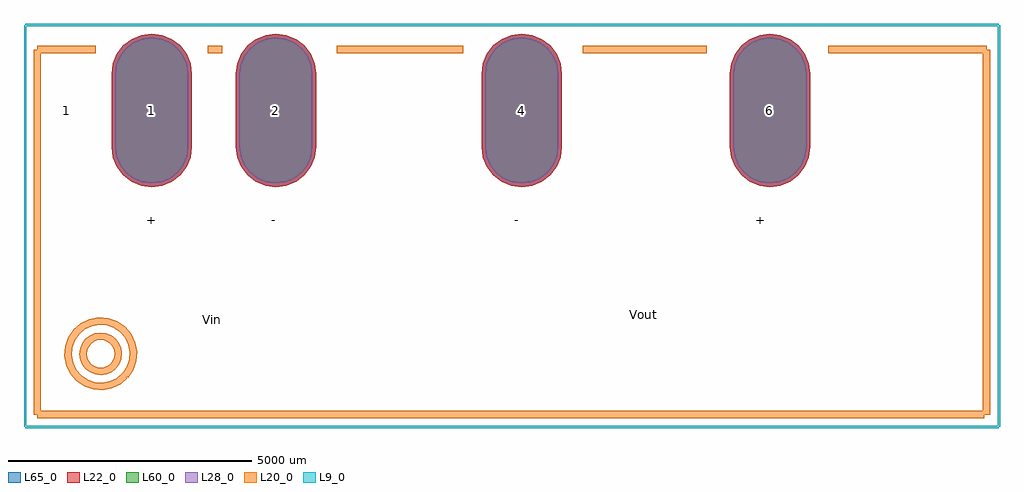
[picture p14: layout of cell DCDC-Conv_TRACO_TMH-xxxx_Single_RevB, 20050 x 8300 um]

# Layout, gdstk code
import gdstk
lib = gdstk.Library(unit=1e-6, precision=1e-09)
def P(c, l, *ps):  # polygons
    for p in ps: c.add(gdstk.Polygon(p, *l))
L9_0 = (9, 0)
L20_0 = (20, 0)
L22_0 = (22, 0)
L28_0 = (28, 0)
L60_0 = (60, 0)
L65_0 = (65, 0)

dcdc_conv_traco_tmh_xxxx = lib.new_cell('DCDC-Conv_TRACO_TMH-xxxx_Single_RevB')
P(dcdc_conv_traco_tmh_xxxx, L22_0, [(12700,-1574.87),(12913.673,-1546.739),(13112.785,-1464.265),(13283.766,-1333.066),(13414.965,-1162.085),(13497.439,-962.973),(13525.57,-749.3),(13525.57,749.3),(13497.439,962.973),(13414.965,1162.085),(13283.766,1333.066),(13112.785,1464.265),(12913.673,1546.739),(12700,1574.87),(12486.327,1546.739),(12287.215,1464.265),(12116.234,1333.066),(11985.035,1162.085),(11902.561,962.973),(11874.43,749.3),(11874.43,-749.3),(11902.561,-962.973),(11985.035,-1162.085),(12116.234,-1333.066),(12287.215,-1464.265),(12486.327,-1546.739)],
  [(7599.68,-1574.87),(7813.353,-1546.739),(8012.465,-1464.265),(8183.446,-1333.066),(8314.645,-1162.085),(8397.119,-962.973),(8425.25,-749.3),(8425.25,749.3),(8397.119,962.973),(8314.645,1162.085),(8183.446,1333.066),(8012.465,1464.265),(7813.353,1546.739),(7599.68,1574.87),(7386.007,1546.739),(7186.895,1464.265),(7015.914,1333.066),(6884.715,1162.085),(6802.241,962.973),(6774.11,749.3),(6774.11,-749.3),(6802.241,-962.973),(6884.715,-1162.085),(7015.914,-1333.066),(7186.895,-1464.265),(7386.007,-1546.739)],
  [(2550.16,-1574.87),(2763.833,-1546.739),(2962.945,-1464.265),(3133.926,-1333.066),(3265.125,-1162.085),(3347.599,-962.973),(3375.73,-749.3),(3375.73,749.3),(3347.599,962.973),(3265.125,1162.085),(3133.926,1333.066),(2962.945,1464.265),(2763.833,1546.739),(2550.16,1574.87),(2336.487,1546.739),(2137.375,1464.265),(1966.394,1333.066),(1835.195,1162.085),(1752.721,962.973),(1724.59,749.3),(1724.59,-749.3),(1752.721,-962.973),(1835.195,-1162.085),(1966.394,-1333.066),(2137.375,-1464.265),(2336.487,-1546.739)],
  [(0,-1574.87),(213.673,-1546.739),(412.785,-1464.265),(583.766,-1333.066),(714.965,-1162.085),(797.439,-962.973),(825.57,-749.3),(825.57,749.3),(797.439,962.973),(714.965,1162.085),(583.766,1333.066),(412.785,1464.265),(213.673,1546.739),(0,1574.87),(-213.673,1546.739),(-412.785,1464.265),(-583.766,1333.066),(-714.965,1162.085),(-797.439,962.973),(-825.57,749.3),(-825.57,-749.3),(-797.439,-962.973),(-714.965,-1162.085),(-583.766,-1333.066),(-412.785,-1464.265),(-213.673,-1546.739)])
P(dcdc_conv_traco_tmh_xxxx, L28_0, [(12700,-1499.87),(12894.262,-1474.295),(13075.285,-1399.313),(13230.733,-1280.033),(13350.013,-1124.585),(13424.995,-943.562),(13450.57,-749.3),(13450.57,749.3),(13424.995,943.562),(13350.013,1124.585),(13230.733,1280.033),(13075.285,1399.313),(12894.262,1474.295),(12700,1499.87),(12505.738,1474.295),(12324.715,1399.313),(12169.267,1280.033),(12049.987,1124.585),(11975.005,943.562),(11949.43,749.3),(11949.43,-749.3),(11975.005,-943.562),(12049.987,-1124.585),(12169.267,-1280.033),(12324.715,-1399.313),(12505.738,-1474.295)],
  [(7599.68,-1499.87),(7793.942,-1474.295),(7974.965,-1399.313),(8130.413,-1280.033),(8249.693,-1124.585),(8324.675,-943.562),(8350.25,-749.3),(8350.25,749.3),(8324.675,943.562),(8249.693,1124.585),(8130.413,1280.033),(7974.965,1399.313),(7793.942,1474.295),(7599.68,1499.87),(7405.418,1474.295),(7224.395,1399.313),(7068.947,1280.033),(6949.667,1124.585),(6874.685,943.562),(6849.11,749.3),(6849.11,-749.3),(6874.685,-943.562),(6949.667,-1124.585),(7068.947,-1280.033),(7224.395,-1399.313),(7405.418,-1474.295)],
  [(2550.16,-1499.87),(2744.422,-1474.295),(2925.445,-1399.313),(3080.893,-1280.033),(3200.173,-1124.585),(3275.155,-943.562),(3300.73,-749.3),(3300.73,749.3),(3275.155,943.562),(3200.173,1124.585),(3080.893,1280.033),(2925.445,1399.313),(2744.422,1474.295),(2550.16,1499.87),(2355.898,1474.295),(2174.875,1399.313),(2019.427,1280.033),(1900.147,1124.585),(1825.165,943.562),(1799.59,749.3),(1799.59,-749.3),(1825.165,-943.562),(1900.147,-1124.585),(2019.427,-1280.033),(2174.875,-1399.313),(2355.898,-1474.295)],
  [(0,-1499.87),(194.262,-1474.295),(375.285,-1399.313),(530.733,-1280.033),(650.013,-1124.585),(724.995,-943.562),(750.57,-749.3),(750.57,749.3),(724.995,943.562),(650.013,1124.585),(530.733,1280.033),(375.285,1399.313),(194.262,1474.295),(0,1499.87),(-194.262,1474.295),(-375.285,1399.313),(-530.733,1280.033),(-650.013,1124.585),(-724.995,943.562),(-750.57,749.3),(-750.57,-749.3),(-724.995,-943.562),(-650.013,-1124.585),(-530.733,-1280.033),(-375.285,-1399.313),(-194.262,-1474.295)])
P(dcdc_conv_traco_tmh_xxxx, L60_0, [(12700,-1499.87),(12894.262,-1474.295),(13075.285,-1399.313),(13230.733,-1280.033),(13350.013,-1124.585),(13424.995,-943.562),(13450.57,-749.3),(13450.57,749.3),(13424.995,943.562),(13350.013,1124.585),(13230.733,1280.033),(13075.285,1399.313),(12894.262,1474.295),(12700,1499.87),(12505.738,1474.295),(12324.715,1399.313),(12169.267,1280.033),(12049.987,1124.585),(11975.005,943.562),(11949.43,749.3),(11949.43,-749.3),(11975.005,-943.562),(12049.987,-1124.585),(12169.267,-1280.033),(12324.715,-1399.313),(12505.738,-1474.295)],
  [(7599.68,-1499.87),(7793.942,-1474.295),(7974.965,-1399.313),(8130.413,-1280.033),(8249.693,-1124.585),(8324.675,-943.562),(8350.25,-749.3),(8350.25,749.3),(8324.675,943.562),(8249.693,1124.585),(8130.413,1280.033),(7974.965,1399.313),(7793.942,1474.295),(7599.68,1499.87),(7405.418,1474.295),(7224.395,1399.313),(7068.947,1280.033),(6949.667,1124.585),(6874.685,943.562),(6849.11,749.3),(6849.11,-749.3),(6874.685,-943.562),(6949.667,-1124.585),(7068.947,-1280.033),(7224.395,-1399.313),(7405.418,-1474.295)],
  [(2550.16,-1499.87),(2744.422,-1474.295),(2925.445,-1399.313),(3080.893,-1280.033),(3200.173,-1124.585),(3275.155,-943.562),(3300.73,-749.3),(3300.73,749.3),(3275.155,943.562),(3200.173,1124.585),(3080.893,1280.033),(2925.445,1399.313),(2744.422,1474.295),(2550.16,1499.87),(2355.898,1474.295),(2174.875,1399.313),(2019.427,1280.033),(1900.147,1124.585),(1825.165,943.562),(1799.59,749.3),(1799.59,-749.3),(1825.165,-943.562),(1900.147,-1124.585),(2019.427,-1280.033),(2174.875,-1399.313),(2355.898,-1474.295)],
  [(0,-1499.87),(194.262,-1474.295),(375.285,-1399.313),(530.733,-1280.033),(650.013,-1124.585),(724.995,-943.562),(750.57,-749.3),(750.57,749.3),(724.995,943.562),(650.013,1124.585),(530.733,1280.033),(375.285,1399.313),(194.262,1474.295),(0,1499.87),(-194.262,1474.295),(-375.285,1399.313),(-530.733,1280.033),(-650.013,1124.585),(-724.995,943.562),(-750.57,749.3),(-750.57,-749.3),(-724.995,-943.562),(-650.013,-1124.585),(-530.733,-1280.033),(-375.285,-1399.313),(-194.262,-1474.295)])
P(dcdc_conv_traco_tmh_xxxx, L65_0, [(12700,-1574.87),(12913.673,-1546.739),(13112.785,-1464.265),(13283.766,-1333.066),(13414.965,-1162.085),(13497.439,-962.973),(13525.57,-749.3),(13525.57,749.3),(13497.439,962.973),(13414.965,1162.085),(13283.766,1333.066),(13112.785,1464.265),(12913.673,1546.739),(12700,1574.87),(12486.327,1546.739),(12287.215,1464.265),(12116.234,1333.066),(11985.035,1162.085),(11902.561,962.973),(11874.43,749.3),(11874.43,-749.3),(11902.561,-962.973),(11985.035,-1162.085),(12116.234,-1333.066),(12287.215,-1464.265),(12486.327,-1546.739)],
  [(7599.68,-1574.87),(7813.353,-1546.739),(8012.465,-1464.265),(8183.446,-1333.066),(8314.645,-1162.085),(8397.119,-962.973),(8425.25,-749.3),(8425.25,749.3),(8397.119,962.973),(8314.645,1162.085),(8183.446,1333.066),(8012.465,1464.265),(7813.353,1546.739),(7599.68,1574.87),(7386.007,1546.739),(7186.895,1464.265),(7015.914,1333.066),(6884.715,1162.085),(6802.241,962.973),(6774.11,749.3),(6774.11,-749.3),(6802.241,-962.973),(6884.715,-1162.085),(7015.914,-1333.066),(7186.895,-1464.265),(7386.007,-1546.739)],
  [(2550.16,-1574.87),(2763.833,-1546.739),(2962.945,-1464.265),(3133.926,-1333.066),(3265.125,-1162.085),(3347.599,-962.973),(3375.73,-749.3),(3375.73,749.3),(3347.599,962.973),(3265.125,1162.085),(3133.926,1333.066),(2962.945,1464.265),(2763.833,1546.739),(2550.16,1574.87),(2336.487,1546.739),(2137.375,1464.265),(1966.394,1333.066),(1835.195,1162.085),(1752.721,962.973),(1724.59,749.3),(1724.59,-749.3),(1752.721,-962.973),(1835.195,-1162.085),(1966.394,-1333.066),(2137.375,-1464.265),(2336.487,-1546.739)],
  [(0,-1574.87),(213.673,-1546.739),(412.785,-1464.265),(583.766,-1333.066),(714.965,-1162.085),(797.439,-962.973),(825.57,-749.3),(825.57,749.3),(797.439,962.973),(714.965,1162.085),(583.766,1333.066),(412.785,1464.265),(213.673,1546.739),(0,1574.87),(-213.673,1546.739),(-412.785,1464.265),(-583.766,1333.066),(-714.965,1162.085),(-797.439,962.973),(-825.57,749.3),(-825.57,-749.3),(-797.439,-962.973),(-714.965,-1162.085),(-583.766,-1333.066),(-412.785,-1464.265),(-213.673,-1546.739)])
dcdc_conv_traco_tmh_xxxx.add(gdstk.FlexPath([(-2352.04,1249.68),(-2352.04,-6248.4)], 149.998, ends="flush", simple_path=True, layer=20, datatype=0))  # L20_0
dcdc_conv_traco_tmh_xxxx.add(gdstk.FlexPath([(17150.1,-6248.4),(17150.1,1249.68)], 149.998, ends="flush", simple_path=True, layer=20, datatype=0))  # L20_0
dcdc_conv_traco_tmh_xxxx.add(gdstk.FlexPath([(-2352.04,-6248.4),(17099.3,-6248.4)], 149.998, ends="flush", simple_path=True, layer=20, datatype=0))  # L20_0
dcdc_conv_traco_tmh_xxxx.add(gdstk.FlexPath([(17150.1,1249.68),(13898.9,1249.68)], 149.998, ends="flush", simple_path=True, layer=20, datatype=0))  # L20_0
dcdc_conv_traco_tmh_xxxx.add(gdstk.FlexPath([(11399.5,1249.68),(8849.36,1249.68)], 149.998, ends="flush", simple_path=True, layer=20, datatype=0))  # L20_0
dcdc_conv_traco_tmh_xxxx.add(gdstk.FlexPath([(6398.26,1249.68),(3799.84,1249.68)], 149.998, ends="flush", simple_path=True, layer=20, datatype=0))  # L20_0
dcdc_conv_traco_tmh_xxxx.add(gdstk.FlexPath([(1447.8,1249.68),(1148.08,1249.68)], 149.998, ends="flush", simple_path=True, layer=20, datatype=0))  # L20_0
dcdc_conv_traco_tmh_xxxx.add(gdstk.FlexPath([(-1150.62,1249.68),(-2352.04,1249.68)], 149.998, ends="flush", simple_path=True, layer=20, datatype=0))  # L20_0
dcdc_conv_traco_tmh_xxxx.add(gdstk.FlexPath([(-2600,-6500),(17400,-6500)], 50, ends="flush", simple_path=True, layer=9, datatype=0))  # L9_0
dcdc_conv_traco_tmh_xxxx.add(gdstk.FlexPath([(-2600,1750),(17400,1750)], 50, ends="flush", simple_path=True, layer=9, datatype=0))  # L9_0
dcdc_conv_traco_tmh_xxxx.add(gdstk.FlexPath([(17400,1750),(17400,-6500)], 50, ends="flush", simple_path=True, layer=9, datatype=0))  # L9_0
dcdc_conv_traco_tmh_xxxx.add(gdstk.FlexPath([(-2600,1750),(-2600,-6500)], 50, ends="flush", simple_path=True, layer=9, datatype=0))  # L9_0
dcdc_conv_traco_tmh_xxxx.add(gdstk.FlexPath([(-549.26,-5450.4),(-449.95,-5305.573),(-391.508,-5139.978),(-377.917,-4964.899),(-410.102,-4792.268),(-485.871,-4633.85),(-600.06,-4500.44),(-744.887,-4401.13),(-910.482,-4342.688),(-1085.561,-4329.097),(-1258.192,-4361.282),(-1416.61,-4437.051),(-1550.02,-4551.24),(-1649.33,-4696.067),(-1707.772,-4861.662),(-1721.363,-5036.741),(-1689.178,-5209.372),(-1613.409,-5367.79),(-1499.22,-5501.2),(-1354.393,-5600.51),(-1188.798,-5658.952),(-1013.719,-5672.543),(-841.088,-5640.358),(-682.67,-5564.589),(-549.26,-5450.4)], 149.998, ends="flush", simple_path=True, layer=20, datatype=0))  # L20_0
dcdc_conv_traco_tmh_xxxx.add(gdstk.FlexPath([(-950.58,-5348.8),(-863.892,-5311.304),(-789.862,-5252.65),(-733.535,-5176.833),(-698.75,-5089.022),(-687.879,-4995.199),(-701.66,-4901.76),(-739.156,-4815.072),(-797.81,-4741.042),(-873.627,-4684.715),(-961.438,-4649.93),(-1055.261,-4639.059),(-1148.7,-4652.84),(-1235.388,-4690.336),(-1309.418,-4748.99),(-1365.745,-4824.807),(-1400.53,-4912.618),(-1411.401,-5006.441),(-1397.62,-5099.88),(-1360.124,-5186.568),(-1301.47,-5260.598),(-1225.653,-5316.925),(-1137.842,-5351.71),(-1044.019,-5362.581),(-950.58,-5348.8)], 149.998, ends="flush", simple_path=True, layer=20, datatype=0))  # L20_0
dcdc_conv_traco_tmh_xxxx.add(gdstk.Label('6', (12700,0), layer=28, texttype=0))
dcdc_conv_traco_tmh_xxxx.add(gdstk.Label('4', (7599.68,0), layer=28, texttype=0))
dcdc_conv_traco_tmh_xxxx.add(gdstk.Label('2', (2550.16,0), layer=28, texttype=0))
dcdc_conv_traco_tmh_xxxx.add(gdstk.Label('1', (0,0), layer=28, texttype=0))
dcdc_conv_traco_tmh_xxxx.add(gdstk.Label('+', (-0.62,-2250), layer=9, texttype=0))
dcdc_conv_traco_tmh_xxxx.add(gdstk.Label('-', (2498.74,-2250), layer=9, texttype=0))
dcdc_conv_traco_tmh_xxxx.add(gdstk.Label('Vin', (1249.06,-4299.78), layer=9, texttype=0))
dcdc_conv_traco_tmh_xxxx.add(gdstk.Label('1', (-1750,0), layer=9, texttype=0))
dcdc_conv_traco_tmh_xxxx.add(gdstk.Label('-', (7500,-2250), layer=9, texttype=0))
dcdc_conv_traco_tmh_xxxx.add(gdstk.Label('+', (12501.26,-2250), layer=9, texttype=0))
dcdc_conv_traco_tmh_xxxx.add(gdstk.Label('Vout', (10100.96,-4200.72), layer=9, texttype=0))
dcdc_conv_traco_tmh_xxxx.add(gdstk.Label('type', (0,3250), layer=9, texttype=0))
dcdc_conv_traco_tmh_xxxx.add(gdstk.Label('devicename', (0,5250), layer=9, texttype=0))

lib.write_gds('DCDC-Conv_TRACO_TMH-xxxx_Single_RevB.gds')
